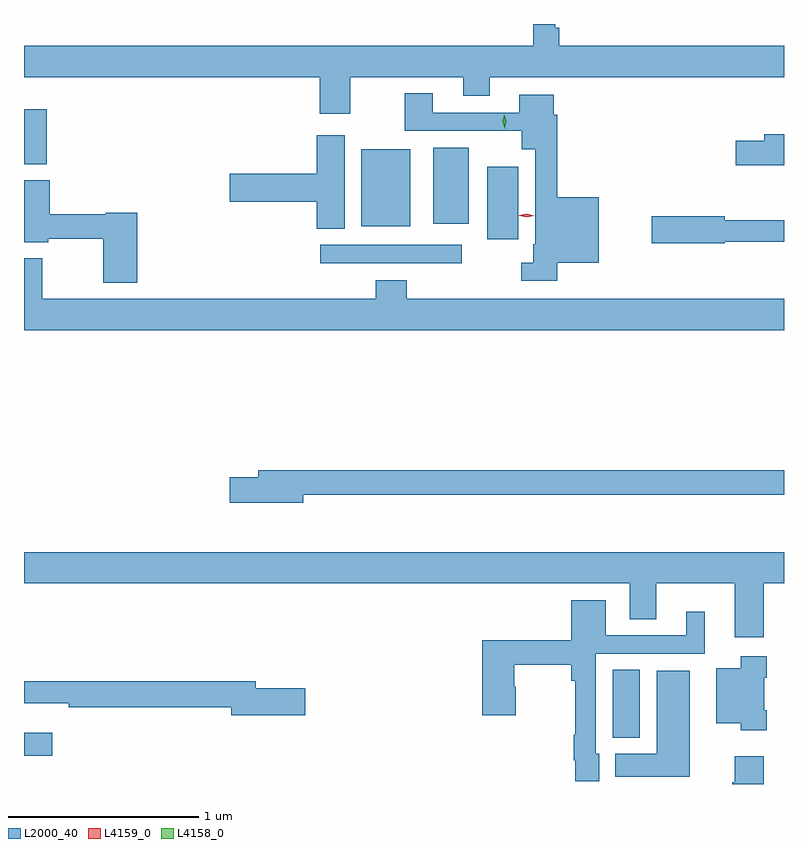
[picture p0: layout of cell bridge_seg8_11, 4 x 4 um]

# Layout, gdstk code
import gdstk
lib = gdstk.Library(unit=1e-6, precision=1e-09)
def R(c, l, rs):  # rectangles x0, y0, x1, y1
    for r in rs: c.add(gdstk.rectangle(r[:2], r[2:], *l))
def P(c, l, *ps):  # polygons
    for p in ps: c.add(gdstk.Polygon(p, *l))
L2000_40 = (2000, 40)
L4158_0 = (4158, 0)
L4159_0 = (4159, 0)

bridge_seg8_11 = lib.new_cell('bridge_seg8_11')
R(bridge_seg8_11, L2000_40, [(982.101,1147.559,982.249,1147.681), (985.199,1147.655,985.342,1148.012), (983.661,1150.152,984.406,1150.248), (984.539,1150.278,984.703,1150.66), (983.876,1150.346,984.133,1150.753), (984.254,1150.361,984.442,1150.759), (982.101,1150.673,982.22,1150.963)])
P(bridge_seg8_11, L2000_40, [(983.817,1151.132),(984.413,1151.132),(984.413,1151.033),(984.553,1151.033),(984.553,1151.132),(986.101,1151.132),(986.101,1151.296),(984.917,1151.296),(984.917,1151.392),(984.897,1151.392),(984.897,1151.411),(984.781,1151.411),(984.781,1151.296),(982.101,1151.296),(982.101,1151.132),(983.657,1151.132),(983.657,1150.938),(983.817,1150.938)],
  [(984.908,1150.154),(985.126,1150.154),(985.126,1150.498),(984.908,1150.498),(984.908,1150.934),(984.889,1150.934),(984.889,1151.038),(984.707,1151.038),(984.707,1150.944),(984.253,1150.944),(984.253,1151.047),(984.106,1151.047),(984.106,1150.848),(984.722,1150.848),(984.722,1150.751),(984.792,1150.751),(984.792,1150.252),(984.78,1150.252),(984.78,1150.155),(984.717,1150.155),(984.717,1150.059),(984.908,1150.059)],
  [(986.101,1150.831),(985.997,1150.831),(985.997,1150.797),(985.848,1150.797),(985.848,1150.667),(986.101,1150.667)],
  [(983.788,1150.825),(983.642,1150.825),(983.642,1150.622),(983.184,1150.622),(983.184,1150.475),(983.642,1150.475),(983.642,1150.333),(983.788,1150.333)],
  [(982.697,1150.417),(982.53,1150.417),(982.53,1150.409),(982.236,1150.409),(982.236,1150.588),(982.101,1150.588),(982.101,1150.262),(982.228,1150.262),(982.228,1150.281),(982.519,1150.281),(982.519,1150.05),(982.697,1150.05)],
  [(985.788,1150.266),(986.101,1150.266),(986.101,1150.379),(985.788,1150.379),(985.788,1150.4),(985.404,1150.4),(985.404,1150.258),(985.788,1150.258)],
  [(986.101,1149.964),(984.116,1149.964),(984.116,1150.063),(983.951,1150.063),(983.951,1149.964),(982.198,1149.964),(982.198,1150.177),(982.101,1150.177),(982.101,1149.8),(986.101,1149.8)],
  [(983.572,1148.934),(986.101,1148.934),(986.101,1149.062),(983.333,1149.062),(983.333,1149.026),(983.184,1149.026),(983.184,1148.891),(983.572,1148.891)],
  [(985.994,1148.468),(986.101,1148.468),(986.101,1148.632),(982.101,1148.632),(982.101,1148.468),(985.289,1148.468),(985.289,1148.278),(985.429,1148.278),(985.429,1148.468),(985.841,1148.468),(985.841,1148.184),(985.994,1148.184)],
  [(985.129,1147.569),(985.11,1147.569),(985.11,1148.097),(985.684,1148.097),(985.684,1148.317),(985.586,1148.317),(985.586,1148.193),(985.162,1148.193),(985.162,1148.377),(984.98,1148.377),(984.98,1148.167),(984.512,1148.167),(984.512,1147.773),(984.69,1147.773),(984.69,1147.923),(984.682,1147.923),(984.682,1148.038),(984.98,1148.038),(984.98,1147.955),(985.002,1147.955),(985.002,1147.669),(984.994,1147.669),(984.994,1147.537),(985.002,1147.537),(985.002,1147.425),(985.129,1147.425)],
  [(986.009,1147.798),(985.996,1147.798),(985.996,1147.97),(986.009,1147.97),(986.009,1148.083),(985.874,1148.083),(985.874,1148.02),(985.745,1148.02),(985.745,1147.73),(985.874,1147.73),(985.874,1147.694),(986.009,1147.694)],
  [(985.606,1148.008),(985.43,1148.008),(985.43,1147.57),(985.214,1147.57),(985.214,1147.448),(985.606,1147.448)],
  [(983.581,1147.916),(983.32,1147.916),(983.32,1147.952),(982.101,1147.952),(982.101,1147.835),(982.336,1147.835),(982.336,1147.816),(983.192,1147.816),(983.192,1147.774),(983.581,1147.774)],
  [(985.994,1147.558),(985.841,1147.558),(985.841,1147.421),(985.829,1147.421),(985.829,1147.411),(985.994,1147.411)])
P(bridge_seg8_11, L4158_0, [(984.631,1150.861),(984.631,1150.862),(984.62,1150.897),(984.628,1150.933),(984.629,1150.933),(984.629,1150.933),(984.64,1150.898),(984.631,1150.862)])
P(bridge_seg8_11, L4159_0, [(984.747,1150.393),(984.708,1150.403),(984.707,1150.404),(984.708,1150.404),(984.747,1150.413),(984.786,1150.403),(984.786,1150.403),(984.786,1150.403)])

lib.write_gds('bridge_seg8_11.gds')
